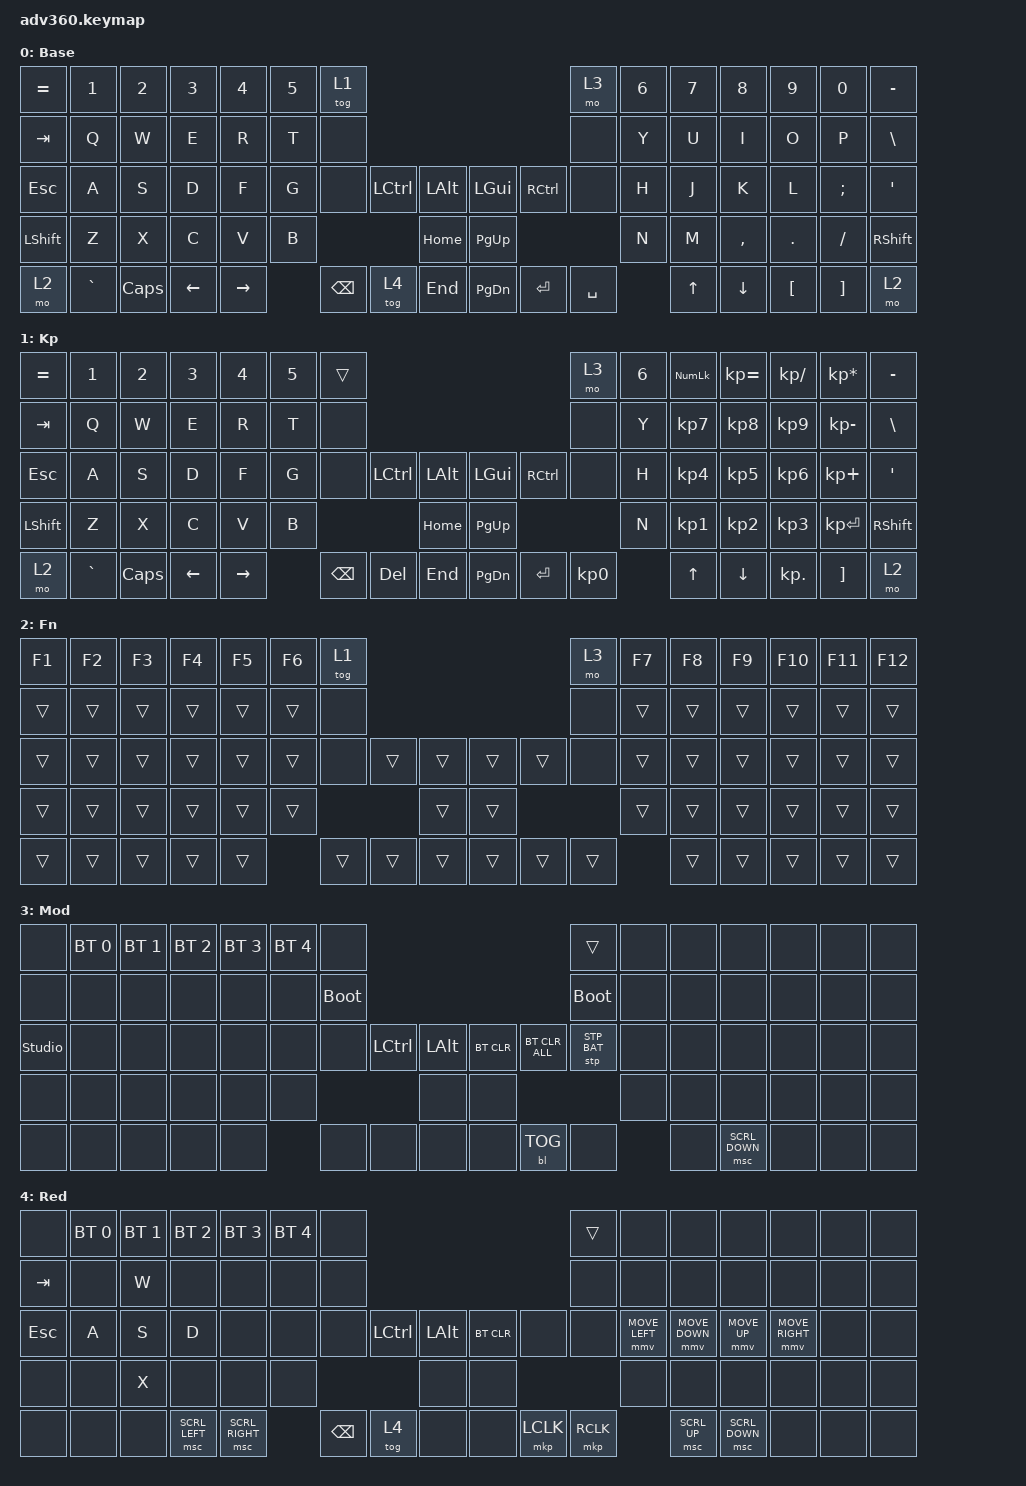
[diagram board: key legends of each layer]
#include <dt-bindings/zmk/stp.h>
#include <behaviors.dtsi>
#include <dt-bindings/zmk/backlight.h>
#include <dt-bindings/zmk/bt.h>
#include <dt-bindings/zmk/keys.h>
#include <dt-bindings/zmk/pointing.h>

/ {
    behaviors {
        #include "macros.dtsi"
      #include "version.dtsi"

        hm: homerow_mods {
            compatible = "zmk,behavior-hold-tap";
            label = "HOMEROW_MODS";
            #binding-cells = <2>;
            tapping-term-ms = <200>;
            quick_tap_ms = <175>;
            flavor = "tap-preferred";
            bindings = <&kp>, <&kp>;
        };
    };

    keymap {
        compatible = "zmk,keymap";

        default_layer {
            display-name = "Base";
            bindings = <
&kp EQUAL  &kp N1     &kp N2    &kp N3    &kp N4     &kp N5  &tog 1                                                   &mo 3      &kp N6  &kp N7  &kp N8     &kp N9    &kp N0    &kp MINUS
&kp TAB    &kp Q      &kp W     &kp E     &kp R      &kp T   &none                                                    &none      &kp Y   &kp U   &kp I      &kp O     &kp P     &kp BSLH
&kp ESC    &kp A      &kp S     &kp D     &kp F      &kp G   &none     &kp LCTRL  &kp LALT      &kp LGUI   &kp RCTRL  &none      &kp H   &kp J   &kp K      &kp L     &kp SEMI  &kp SQT
&kp LSHFT  &kp Z      &kp X     &kp C     &kp V      &kp B                        &kp HOME      &kp PG_UP                        &kp N   &kp M   &kp COMMA  &kp DOT   &kp FSLH  &kp RSHFT
&mo 2      &kp GRAVE  &kp CAPS  &kp LEFT  &kp RIGHT          &kp BSPC  &tog 4     &kp END       &kp PG_DN  &kp ENTER  &kp SPACE          &kp UP  &kp DOWN   &kp LBKT  &kp RBKT  &mo 2
            >;
        };

        keypad {
            display-name = "Kp";
            bindings = <
&kp EQUAL  &kp N1     &kp N2    &kp N3    &kp N4     &kp N5  &trans                                                   &mo 3      &kp N6  &kp KP_NUM  &kp KP_EQUAL  &kp KP_DIVIDE  &kp KP_MULTIPLY  &kp MINUS
&kp TAB    &kp Q      &kp W     &kp E     &kp R      &kp T   &none                                                    &none      &kp Y   &kp KP_N7   &kp KP_N8     &kp KP_N9      &kp KP_MINUS     &kp BSLH
&kp ESC    &kp A      &kp S     &kp D     &kp F      &kp G   &none     &kp LCTRL  &kp LALT      &kp LGUI   &kp RCTRL  &none      &kp H   &kp KP_N4   &kp KP_N5     &kp KP_N6      &kp KP_PLUS      &kp SQT
&kp LSHFT  &kp Z      &kp X     &kp C     &kp V      &kp B                        &kp HOME      &kp PG_UP                        &kp N   &kp KP_N1   &kp KP_N2     &kp KP_N3      &kp KP_ENTER     &kp RSHFT
&mo 2      &kp GRAVE  &kp CAPS  &kp LEFT  &kp RIGHT          &kp BSPC  &kp DEL    &kp END       &kp PG_DN  &kp ENTER  &kp KP_N0          &kp UP      &kp DOWN      &kp KP_DOT     &kp RBKT         &mo 2
            >;
        };

        fn {
            display-name = "Fn";
            bindings = <
&kp F1  &kp F2  &kp F3  &kp F4  &kp F5  &kp F6  &tog 1                                      &mo 3   &kp F7  &kp F8  &kp F9  &kp F10  &kp F11  &kp F12
&trans  &trans  &trans  &trans  &trans  &trans  &none                                       &none   &trans  &trans  &trans  &trans   &trans   &trans
&trans  &trans  &trans  &trans  &trans  &trans  &none   &trans  &trans      &trans  &trans  &none   &trans  &trans  &trans  &trans   &trans   &trans
&trans  &trans  &trans  &trans  &trans  &trans                  &trans      &trans                  &trans  &trans  &trans  &trans   &trans   &trans
&trans  &trans  &trans  &trans  &trans          &trans  &trans  &trans      &trans  &trans  &trans          &trans  &trans  &trans   &trans   &trans
            >;
        };

        mod {
            display-name = "Mod";
            bindings = <
&none           &bt BT_SEL 0  &bt BT_SEL 1  &bt BT_SEL 2  &bt BT_SEL 3  &bt BT_SEL 4  &none                                                                 &trans        &none  &none  &none           &none  &none  &none
&none           &none         &none         &none         &none         &none         &bootloader                                                           &bootloader   &none  &none  &none           &none  &none  &none
&studio_unlock  &none         &none         &none         &none         &none         &none        &kp LCTRL  &kp LEFT_ALT      &bt BT_CLR  &bt BT_CLR_ALL  &stp STP_BAT  &none  &none  &none           &none  &none  &none
&none           &none         &none         &none         &none         &none                                 &none             &none                                     &none  &none  &none           &none  &none  &none
&none           &none         &none         &none         &none                       &none        &none      &none             &none       &bl BL_TOG      &none                &none  &msc SCRL_DOWN  &none  &none  &none
            >;
        };

        Mouse {
            display-name = "Red";
            bindings = <
&none    &bt BT_SEL 0  &bt BT_SEL 1  &bt BT_SEL 2    &bt BT_SEL 3     &bt BT_SEL 4  &none                                                              &trans     &none           &none           &none           &none            &none  &none
&kp TAB  &none         &kp W         &none           &none            &none         &none                                                              &none      &none           &none           &none           &none            &none  &none
&kp ESC  &kp A         &kp S         &kp D           &none            &none         &none          &kp LCTRL  &kp LEFT_ALT      &bt BT_CLR  &none      &none      &mmv MOVE_LEFT  &mmv MOVE_DOWN  &mmv MOVE_UP    &mmv MOVE_RIGHT  &none  &none
&none    &none         &kp X         &none           &none            &none                                   &none             &none                             &none           &none           &none           &none            &none  &none
&none    &none         &none         &msc SCRL_LEFT  &msc SCRL_RIGHT                &kp BACKSPACE  &tog 4     &none             &none       &mkp LCLK  &mkp RCLK                  &msc SCRL_UP    &msc SCRL_DOWN  &none            &none  &none
            >;
        };

        extra1 {
            display-name = "Red";
            status = "reserved";
        };
    };
};
